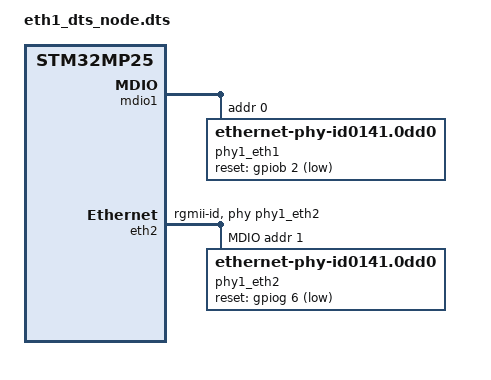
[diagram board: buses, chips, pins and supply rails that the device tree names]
/* Extracted from: linux/arch/arm64/boot/dts/st/stm32mp251.dtsi, lines 2285-2338 */

eth1: eth1@482c0000 {
    compatible = "st,stm32mp25-dwmac", "snps,dwmac-5.10a";
    reg = <0x482c0000 0x4000>;
    reg-names = "stmmaceth";
    interrupts-extended = <&intc GIC_SPI 130 IRQ_TYPE_LEVEL_HIGH>,
                          <&exti1 68 IRQ_TYPE_LEVEL_HIGH>;
    interrupt-names = "macirq", "eth_wake_irq";
    clock-names = "stmmaceth", "mac-clk-tx", "mac-clk-rx",
                  "ptp_ref", "ethstp", "eth-ck";
    clocks = <&rcc CK_ETH1_MAC>,
             <&rcc CK_ETH1_TX>,
             <&rcc CK_ETH1_RX>,
             <&rcc CK_KER_ETH1PTP>,
             <&rcc CK_ETH1_STP>,
             <&rcc CK_KER_ETH1>;
    st,syscon = <&syscfg 0x3000 0xffffffff>;
    snps,mixed-burst;
    snps,pbl = <2>;
    snps,txqos = <7>;
    snps,rxqos = <7>;
    snps,axi-config = <&stmmac_axi_config_1>;
    snps,tso;
    access-controllers = <&rifsc 60>;
    power-domains = <&d1_pd>;
    wakeup-source;
    status = "disabled";
    snps,mtl-rx-config = <&mtl_rx_setup_1>;
    snps,mtl-tx-config = <&mtl_tx_setup_1>;

    stmmac_axi_config_1: stmmac-axi-config {
        snps,wr_osr_lmt = <0x7>;
        snps,rd_osr_lmt = <0x7>;
        snps,blen = <0 0 0 0 16 8 4>;
    };
    mtl_rx_setup_1: rx-queues-config {
        snps,rx-queues-to-use = <2>;
        queue0 {};
        queue1 {};
    };
    mtl_tx_setup_1: tx-queues-config {
        snps,tx-queues-to-use = <4>;
        queue0 {};
        queue1 {};
        queue2 {};
        queue3 {};
    };
};

/* Board-level enablement from: linux/arch/arm64/boot/dts/digi/ccmp25-dvk.dts, lines 321-370 */

&eth1 {
    status = "okay";
    pinctrl-0 = <&eth1_rgmii_pins_a &eth1_mdio_pins_a>;
    pinctrl-1 = <&eth1_rgmii_sleep_pins_a &eth1_mdio_sleep_pins_a>;
    pinctrl-names = "default", "sleep";
    phy-mode = "rgmii-id";
    max-speed = <1000>;
    phy-handle = <&phy1_eth1>;
    snps,ext-systime;

    mdio1 {
        #address-cells = <1>;
        #size-cells = <0>;
        compatible = "snps,dwmac-mdio";
        phy1_eth1: ethernet-phy@0 {
            compatible = "ethernet-phy-id0141.0dd0"; /* Marvell 88E1512 */
            reset-gpios = <&gpiob 2 GPIO_ACTIVE_LOW>;
            reset-assert-us = <1000>;
            reset-deassert-us = <2000>;
            reg = <0>;
        };
    };
};

&eth2 {
    status = "okay";
    pinctrl-0 = <&eth2_rgmii_pins_a>;
    pinctrl-1 = <&eth2_rgmii_sleep_pins_a>;
    pinctrl-names = "default", "sleep";
    phy-mode = "rgmii-id";
    max-speed = <1000>;
    phy-handle = <&phy1_eth2>;
    st,eth-ptp-from-rcc;

    mdio1 {
        #address-cells = <1>;
        #size-cells = <0>;
        compatible = "snps,dwmac-mdio";
        phy1_eth2: ethernet-phy@1 {
            compatible = "ethernet-phy-id0141.0dd0"; /* Marvell 88E1512 */
            reset-gpios = <&gpiog 6 GPIO_ACTIVE_LOW>;
            reset-assert-us = <1000>;
            reset-deassert-us = <2000>;
            reg = <1>;
        };
    };
};
